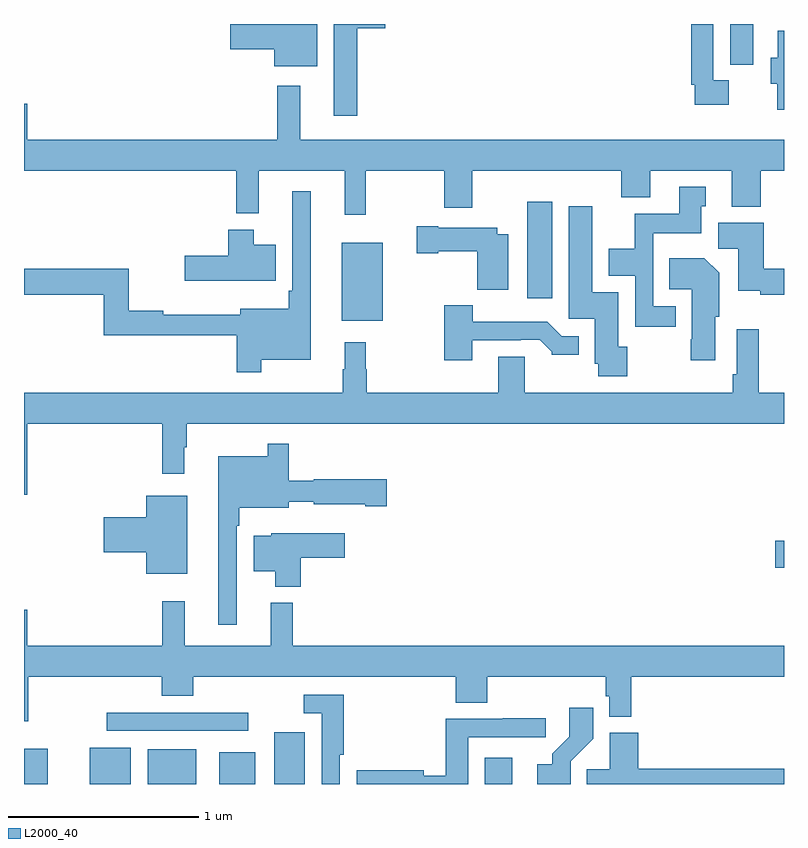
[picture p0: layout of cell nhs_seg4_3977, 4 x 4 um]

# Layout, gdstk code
import gdstk
lib = gdstk.Library(unit=1e-6, precision=1e-09)
def R(c, l, rs):  # rectangles x0, y0, x1, y1
    for r in rs: c.add(gdstk.rectangle(r[:2], r[2:], *l))
def P(c, l, *ps):  # polygons
    for p in ps: c.add(gdstk.Polygon(p, *l))
L2000_40 = (2000, 40)

nhs_seg4_3977 = lib.new_cell('nhs_seg4_3977')
R(nhs_seg4_3977, L2000_40, [(321,818.9,321.124,819.085), (321.347,818.9,321.562,819.091), (321.65,818.9,321.907,819.082), (322.028,818.9,322.216,819.067), (322.316,818.9,322.477,819.172), (323.426,818.9,323.569,819.037), (321.435,819.18,322.18,819.276), (324.954,820.039,325,820.181), (322.673,821.339,322.888,821.749), (323.648,821.457,323.779,821.965), (324.716,822.685,324.838,822.9)])
P(nhs_seg4_3977, L2000_40, [(322.753,822.878),(322.9,822.878),(322.9,822.9),(322.631,822.9),(322.631,822.417),(322.753,822.417)],
  [(322.543,822.9),(322.086,822.9),(322.086,822.766),(322.316,822.766),(322.316,822.677),(322.543,822.677)],
  [(324.71,822.604),(324.627,822.604),(324.627,822.9),(324.511,822.9),(324.511,822.58),(324.531,822.58),(324.531,822.476),(324.71,822.476)],
  [(325,822.865),(324.968,822.865),(324.968,822.723),(324.929,822.723),(324.929,822.586),(324.965,822.586),(324.965,822.45),(325,822.45)],
  [(322.798,822.128),(323.212,822.128),(323.212,821.934),(323.359,821.934),(323.359,822.128),(324.143,822.128),(324.143,821.987),(324.295,821.987),(324.295,822.128),(324.725,822.128),(324.725,821.939),(324.878,821.939),(324.878,822.128),(325,822.128),(325,822.292),(322.453,822.292),(322.453,822.574),(322.332,822.574),(322.332,822.292),(321.016,822.292),(321.016,822.481),(321,822.481),(321,822.128),(322.117,822.128),(322.117,821.903),(322.235,821.903),(322.235,822.128),(322.688,822.128),(322.688,821.895),(322.798,821.895)],
  [(324.43,821.415),(324.312,821.415),(324.312,821.798),(324.565,821.798),(324.565,821.94),(324.589,821.94),(324.589,822.043),(324.449,822.043),(324.449,821.902),(324.214,821.902),(324.214,821.716),(324.077,821.716),(324.077,821.576),(324.216,821.576),(324.216,821.307),(324.43,821.307)],
  [(322.249,821.132),(322.51,821.132),(322.51,822.019),(322.413,822.019),(322.413,821.497),(322.393,821.497),(322.393,821.401),(322.139,821.401),(322.139,821.371),(321.734,821.371),(321.734,821.39),(321.55,821.39),(321.55,821.612),(321,821.612),(321,821.476),(321.421,821.476),(321.421,821.262),(322.12,821.262),(322.12,821.067),(322.249,821.067)],
  [(324.174,821.202),(324.127,821.202),(324.127,821.488),(323.992,821.488),(323.992,821.941),(323.867,821.941),(323.867,821.349),(324.005,821.349),(324.005,821.112),(324.022,821.112),(324.022,821.046),(324.174,821.046)],
  [(325,821.612),(324.893,821.612),(324.893,821.854),(324.653,821.854),(324.653,821.716),(324.758,821.716),(324.758,821.495),(324.874,821.495),(324.874,821.476),(325,821.476)],
  [(323.548,821.794),(323.49,821.794),(323.49,821.827),(323.179,821.827),(323.179,821.835),(323.067,821.835),(323.067,821.693),(323.179,821.693),(323.179,821.705),(323.386,821.705),(323.386,821.501),(323.548,821.501)],
  [(322.324,821.737),(322.21,821.737),(322.21,821.818),(322.076,821.818),(322.076,821.679),(321.846,821.679),(321.846,821.549),(322.324,821.549)],
  [(324.637,821.358),(324.658,821.358),(324.658,821.59),(324.58,821.668),(324.397,821.668),(324.397,821.504),(324.515,821.504),(324.515,821.242),(324.508,821.242),(324.508,821.13),(324.637,821.13)],
  [(323.359,821.235),(323.615,821.235),(323.615,821.238),(323.714,821.238),(323.778,821.174),(323.778,821.159),(323.92,821.159),(323.92,821.256),(323.829,821.256),(323.753,821.332),(323.362,821.332),(323.362,821.419),(323.212,821.419),(323.212,821.13),(323.359,821.13)],
  [(321.016,820.796),(321.727,820.796),(321.727,820.533),(321.844,820.533),(321.844,820.673),(321.856,820.673),(321.856,820.796),(325,820.796),(325,820.96),(324.866,820.96),(324.866,821.293),(324.75,821.293),(324.75,821.056),(324.73,821.056),(324.73,820.96),(323.635,820.96),(323.635,821.15),(323.495,821.15),(323.495,820.96),(322.805,820.96),(322.805,821.084),(322.798,821.084),(322.798,821.224),(322.688,821.224),(322.688,821.084),(322.677,821.084),(322.677,820.96),(321,820.96),(321,820.422),(321.016,820.422)],
  [(322.119,820.259),(322.132,820.259),(322.132,820.355),(322.393,820.355),(322.393,820.385),(322.524,820.385),(322.524,820.373),(322.796,820.373),(322.796,820.361),(322.909,820.361),(322.909,820.503),(322.524,820.503),(322.524,820.495),(322.393,820.495),(322.393,820.69),(322.284,820.69),(322.284,820.624),(322.022,820.624),(322.022,819.738),(322.119,819.738)],
  [(321.859,820.417),(321.644,820.417),(321.644,820.304),(321.42,820.304),(321.42,820.121),(321.644,820.121),(321.644,820.007),(321.859,820.007)],
  [(322.457,820.09),(322.687,820.09),(322.687,820.219),(322.302,820.219),(322.302,820.207),(322.208,820.207),(322.208,820.019),(322.322,820.019),(322.322,819.938),(322.457,819.938)],
  [(321.022,819.464),(321.725,819.464),(321.725,819.365),(321.89,819.365),(321.89,819.464),(323.273,819.464),(323.273,819.328),(323.438,819.328),(323.438,819.464),(324.061,819.464),(324.061,819.363),(324.081,819.363),(324.081,819.254),(324.197,819.254),(324.197,819.464),(325,819.464),(325,819.628),(322.415,819.628),(322.415,819.853),(322.298,819.853),(322.298,819.628),(321.845,819.628),(321.845,819.862),(321.727,819.862),(321.727,819.628),(321.016,819.628),(321.016,819.817),(321,819.817),(321,819.231),(321.022,819.231)],
  [(322.662,819.055),(322.682,819.055),(322.682,819.369),(322.473,819.369),(322.473,819.273),(322.566,819.273),(322.566,818.9),(322.662,818.9)],
  [(323.877,819.019),(323.996,819.138),(323.996,819.301),(323.871,819.301),(323.871,819.149),(323.78,819.059),(323.78,819.004),(323.7,819.004),(323.7,818.9),(323.877,818.9)],
  [(323.337,819.147),(323.746,819.147),(323.746,819.246),(323.521,819.246),(323.521,819.243),(323.221,819.243),(323.221,818.944),(323.104,818.944),(323.104,818.972),(322.752,818.972),(322.752,818.9),(323.337,818.9)],
  [(325,818.98),(324.233,818.98),(324.233,819.169),(324.083,819.169),(324.083,818.978),(323.962,818.978),(323.962,818.9),(325,818.9)])

lib.write_gds('nhs_seg4_3977.gds')
